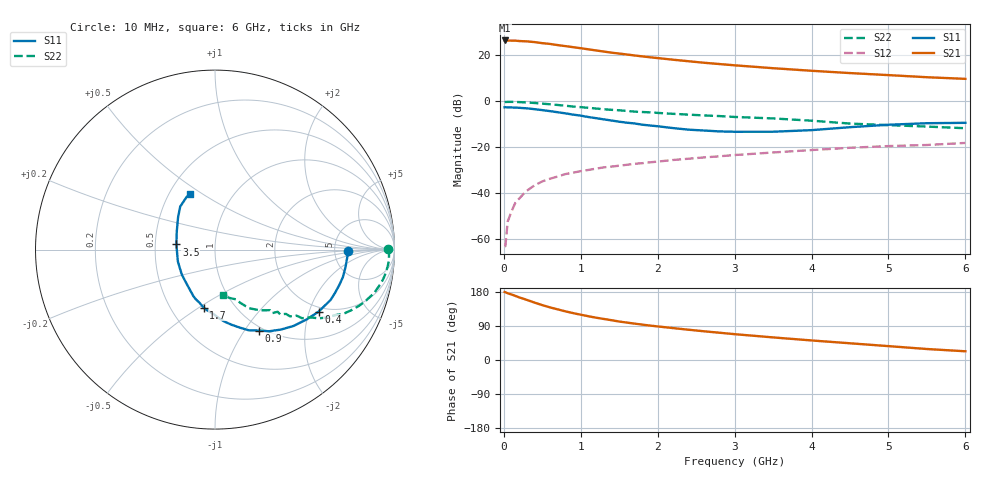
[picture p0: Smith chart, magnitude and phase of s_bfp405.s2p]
! SIEMENS Discrete & RF Semiconductors
! BFP405
! Si NPN RF SIEGET Grounded Emitter Transistor in SOT343
! VCE = 1 V  IC = 10 mA
! Common Emitter S-Parameters:  February  1998
# GHz  S  MA  R  50
!  f  S11  S21  S12  S22
! GHz  MAG  ANG  MAG  ANG  MAG  ANG  MAG  ANG
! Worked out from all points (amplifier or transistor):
!   36 points, 10 MHz to 6 GHz, reference 50 ohm
!   highest |S21| = 26.5 dB at 10 MHz (marker M1)
!   |S21| within 3 dB of that: start of sweep to 917.4 MHz
!   unconditionally stable (mu >= 1): 2.673 GHz to end of sweep
!   at 250 MHz: K = 0.17, MSG = 33.3 dB, |S12| = -40.5 dB
!   at 1.4 GHz: K = 0.71, MSG = 24.8 dB, |S12| = -28.5 dB
!   at 6 GHz: K = 1.19, MAG = 11.3 dB, |S12| = -18.1 dB
!   S11 on the Smith chart (normalised r, x): 10 MHz: 6.65, -0.23; 400 MHz: 1.84, -2.32; 900 MHz: 0.95, -1.16; 1.7 GHz: 0.72, -0.52; 3.5 GHz: 0.64, +0.04; 6 GHz: 0.63, +0.44
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0.01  0.7389 -0.6  21.1 179.4  0.0007 104.4  0.962 0.1
0.02  0.7418 -1.5  20.85 178.7  0.0007 94.7  0.9653 -0.3
0.05  0.7374 -3.8  21.03 176.1  0.0024 81.1  0.9701 -1.6
0.15  0.7288 -12.2  20.9 169.1  0.0062 85.0  0.9656 -5.9
0.3  0.7023 -23.6  20.15 158.5  0.0113 80.4  0.9422 -11.7
0.4  0.6728 -30.9  19.42 151.4  0.0148 75.8  0.9178 -15.4
0.5  0.642 -37.3  18.42 144.8  0.018 73.0  0.8883 -18.6
0.6  0.6102 -44.2  17.73 138.8  0.0206 71.2  0.8607 -21.4
0.8  0.5457 -56.5  15.89 128.4  0.026 66.8  0.8006 -26.5
0.9  0.5125 -61.6  15.07 123.7  0.0279 64.7  0.7681 -28.3
1.1  0.4535 -72.8  13.53 115.4  0.032 62.2  0.721 -31.7
1.2  0.4281 -77.7  12.77 111.6  0.0342 61.2  0.6948 -33.5
1.4  0.3812 -87.0  11.45 105.0  0.0378 59.1  0.6513 -35.4
1.5  0.3589 -91.4  10.93 101.5  0.0396 59.0  0.6361 -36.8
1.7  0.329 -101.2  9.939 96.0  0.0435 57.8  0.595 -38.7
1.9  0.297 -111.0  9.072 90.8  0.0469 56.5  0.574 -40.3
2.2  0.2607 -123.3  8.035 84.2  0.0527 55.7  0.533 -42.2
2.8  0.2208 -153.2  6.471 72.0  0.0633 52.3  0.4765 -48.0
3.5  0.2172 172.4  5.251 59.6  0.0768 47.9  0.4233 -53.1
4.5  0.2728 139.0  4.112 44.1  0.0972 40.8  0.327 -64.7
5.5  0.333 118.4  3.339 29.0  0.1117 32.6  0.2813 -73.2
6  0.3396 114.6  3.077 23.0  0.1239 29.8  0.259 -79.6
